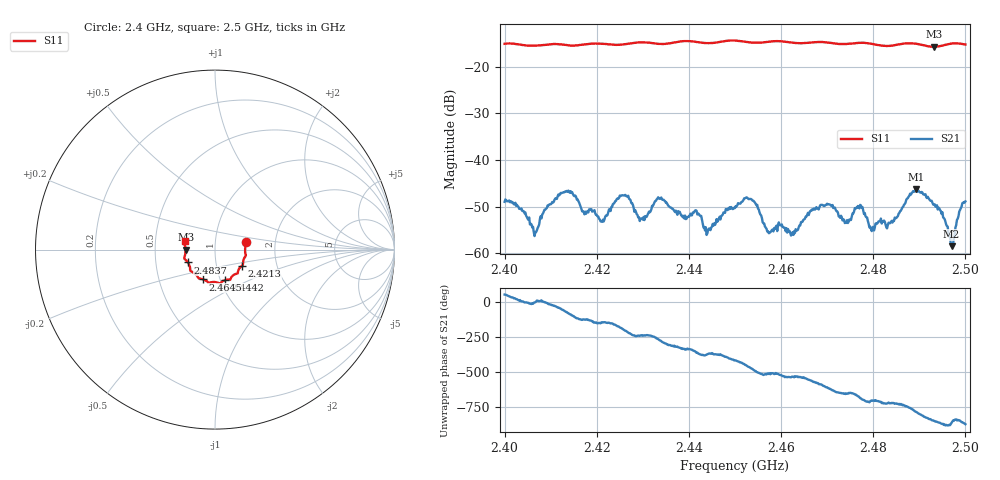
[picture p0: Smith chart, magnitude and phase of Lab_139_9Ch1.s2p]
# Hz S RI R 50
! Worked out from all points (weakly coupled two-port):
!   601 points, 2.4 GHz to 2.5 GHz, reference 50 ohm
!   highest |S21| = -46.26 dB at 2.4893 GHz (marker M1); lowest = -58.5 dB at 2.497 GHz (marker M2)
!   lowest |S11| = -15.7 dB at 2.4932 GHz (marker M3), VSWR 1.39, Z = 36 - j0.0556 ohm
!   |S11| at or under -10 dB: start of sweep to end of sweep
!   S12 and S22 are empty: the file has one direction only
!   S11 on the Smith chart (normalised r, x): 2.4 GHz: 1.41, +0.12; 2.4213 GHz: 1.33, -0.25; 2.4442 GHz: 1.05, -0.37; 2.4645 GHz: 0.83, -0.29; 2.4837 GHz: 0.73, -0.11; 2.5 GHz: 0.71, +0.07
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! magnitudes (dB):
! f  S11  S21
! 2.4 GHz  -15.1  -49.0
! 2.4067 GHz  -15.5  -55.5
! 2.4127 GHz  -15.3  -47.0
! 2.4167 GHz  -15.3  -50.5
! 2.4213 GHz  -15.1  -52.8
! 2.4255 GHz  -15.3  -47.6
! 2.4298 GHz  -14.8  -52.5
! 2.4333 GHz  -15.1  -48.0
! 2.4442 GHz  -15.0  -55.0
! 2.45 GHz  -14.4  -50.3
! 2.4538 GHz  -14.8  -48.7
! 2.4575 GHz  -14.6  -55.7
! 2.4645 GHz  -15.0  -53.3
! 2.4667 GHz  -14.8  -50.6
! 2.4772 GHz  -14.9  -49.6
! 2.4797 GHz  -15.1  -55.3
! 2.4833 GHz  -15.6  -53.5
! 2.4837 GHz  -15.5  -53.6
! 2.4893 GHz  -15.1  -46.3
! 2.4932 GHz  -15.7  -49.6
! 2.497 GHz  -15.0  -58.5
! 2.5 GHz  -15.2  -48.9
